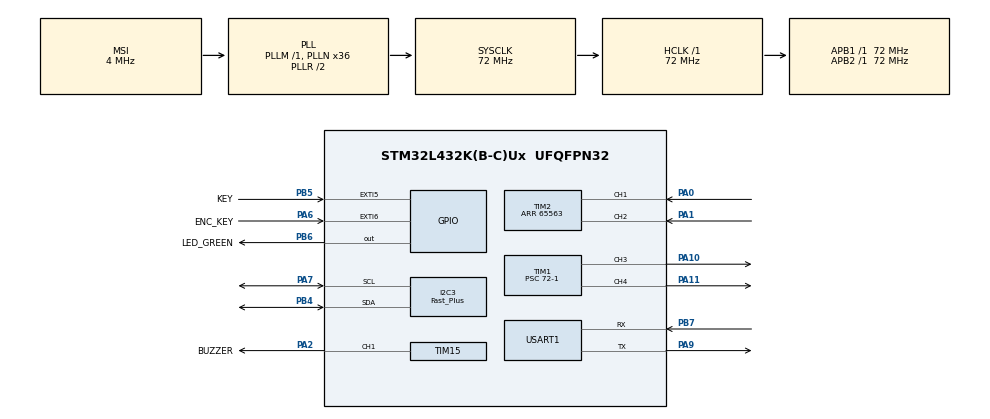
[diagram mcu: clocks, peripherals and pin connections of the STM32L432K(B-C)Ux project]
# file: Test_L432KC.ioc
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I2C3.I2C_Speed_Mode=I2C_Fast_Plus
I2C3.Speed=1000
I2C3.Timing=0x00A10D1F
Mcu.Family=STM32L4
Mcu.Name=STM32L432K(B-C)Ux
Mcu.Package=UFQFPN32
NVIC.EXTI9_5_IRQn=true\:0\:0\:false\:false\:true\:true\:true\:true
NVIC.PriorityGroup=NVIC_PRIORITYGROUP_4
NVIC.USART1_IRQn=true\:0\:0\:true\:false\:true\:true\:true\:true
PA0.GPIO_PuPd=GPIO_PULLUP
PA0.Signal=S_TIM2_CH1
PA1.GPIO_PuPd=GPIO_PULLUP
PA1.Signal=S_TIM2_CH2
PA10.Signal=S_TIM1_CH3
PA11.Signal=S_TIM1_CH4
PA13\ (JTMS-SWDIO).Mode=Serial_Wire
PA13\ (JTMS-SWDIO).Signal=SYS_JTMS-SWDIO
PA14\ (JTCK-SWCLK).Mode=Serial_Wire
PA14\ (JTCK-SWCLK).Signal=SYS_JTCK-SWCLK
PA2.GPIO_Label=BUZZER
PA2.Signal=S_TIM15_CH1
PA6.GPIO_Label=ENC_KEY
PA6.GPIO_ModeDefaultEXTI=GPIO_MODE_IT_FALLING
PA6.GPIO_PuPd=GPIO_PULLUP
PA6.Signal=GPXTI6
PA7.GPIO_Pu=GPIO_PULLUP
PA7.Mode=I2C
PA7.Signal=I2C3_SCL
PA9.Mode=Asynchronous
PA9.Signal=USART1_TX
PB4\ (NJTRST).GPIO_Pu=GPIO_PULLUP
PB4\ (NJTRST).Mode=I2C
PB4\ (NJTRST).Signal=I2C3_SDA
PB5.GPIO_Label=KEY
PB5.GPIO_ModeDefaultEXTI=GPIO_MODE_IT_FALLING
PB5.GPIO_PuPd=GPIO_PULLUP
PB5.Signal=GPXTI5
PB6.GPIO_Label=LED_GREEN
PB6.GPIO_PuPd=GPIO_NOPULL
PB6.Signal=GPIO_Output
PB7.Mode=Asynchronous
PB7.Signal=USART1_RX
PC14-OSC32_IN\ (PC14).Mode=LSE-External-Oscillator
PC14-OSC32_IN\ (PC14).Signal=RCC_OSC32_IN
PC15-OSC32_OUT\ (PC15).Mode=LSE-External-Oscillator
PC15-OSC32_OUT\ (PC15).Signal=RCC_OSC32_OUT
ProjectManager.HeapSize=0x200
ProjectManager.StackSize=0x400
ProjectManager.TargetToolchain=CMake
RCC.AHBFreq_Value=72000000
RCC.APB1Freq_Value=72000000
RCC.APB1TimFreq_Value=72000000
RCC.APB2Freq_Value=72000000
RCC.APB2TimFreq_Value=72000000
RCC.CortexFreq_Value=72000000
RCC.HCLKFreq_Value=72000000
RCC.HSE_VALUE=8000000
RCC.HSI48_VALUE=48000000
RCC.HSI_VALUE=16000000
RCC.MSI_VALUE=4000000
RCC.PLLN=36
RCC.RTCClockSelection=RCC_RTCCLKSOURCE_LSE
RCC.SYSCLKFreq_VALUE=72000000
RCC.SYSCLKSource=RCC_SYSCLKSOURCE_PLLCLK
RCC.VCOOutputFreq_Value=144000000
RTC.Format=RTC_FORMAT_BIN
SH.S_TIM15_CH1.0=TIM15_CH1,PWM Generation1 CH1
SH.S_TIM1_CH3.0=TIM1_CH3,PWM Generation3 CH3
SH.S_TIM1_CH4.0=TIM1_CH4,PWM Generation4 CH4
SH.S_TIM2_CH1.0=TIM2_CH1,Encoder_Interface
SH.S_TIM2_CH2.0=TIM2_CH2,Encoder_Interface
TIM1.Channel-PWM\ Generation3\ CH3=TIM_CHANNEL_3
TIM1.Channel-PWM\ Generation4\ CH4=TIM_CHANNEL_4
TIM1.Period=100-1
TIM1.Prescaler=72-1
TIM15.Channel-PWM\ Generation1\ CH1=TIM_CHANNEL_1
TIM15.Prescaler=72-1
TIM2.EncoderMode=TIM_ENCODERMODE_TI12
TIM2.IC1Filter=15
TIM2.IC2Filter=15
TIM2.Period=65563
USART1.VirtualMode-Asynchronous=VM_ASYNC
VP_RTC_VS_RTC_Activate.Mode=RTC_Enabled
VP_RTC_VS_RTC_Calendar.Mode=RTC_Calendar
VP_TIM1_VS_ClockSourceINT.Mode=Internal
board=custom

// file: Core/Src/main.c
/* USER CODE BEGIN Header */
/**
  ******************************************************************************
  * @file           : main.c
  * @brief          : Main program body
  ******************************************************************************
  * @attention
  *
  * Copyright (c) 2026 STMicroelectronics.
  * All rights reserved.
  *
  * This software is licensed under terms that can be found in the LICENSE file
  * in the root directory of this software component.
  * If no LICENSE file comes with this software, it is provided AS-IS.
  *
  ******************************************************************************
  */
/* USER CODE END Header */
#include "main.h"
#include "i2c.h"
#include "rtc.h"
#include "tim.h"
#include "usart.h"
#include "gpio.h"

/* USER CODE BEGIN Includes */
#include <stdint.h>
#include<stdio.h>
#include"driver_ssd1306_basic.h"
#include "driver_aht20_basic.h"
#include "driver_bmp280_basic.h"
#include "rtc_app.h"
#include <string.h>
#include "fan_app.h"
#include "buzzer_app.h"

/* USER CODE END Includes */

/* USER CODE BEGIN PD */
#define TIME_PAGE 0
#define STATUS_PAGE 1
#define FAN_MODE_MANUAL 1
#define FAN_MODE_AUTO 0
#define FAN_CONTROL_PERIOD_MS 10U
#define DISPLAY_REFRESH_PERIOD_MS 250U
#define RTC_REFRESH_PERIOD_MS 250U
#define SENSOR_REFRESH_PERIOD_MS 1000U
/* USER CODE END PD */

/* USER CODE BEGIN PV */
// 开机乐谱：马里奥主题短句
const BuzzerNote startup_melody[] = {
    {NOTE_E5, 90},  {NOTE_E5, 90},  {NOTE_REST, 90}, {NOTE_E5, 90},
    {NOTE_REST, 90}, {NOTE_C5, 90}, {NOTE_E5, 90},  {NOTE_REST, 90},
    {NOTE_G5, 180}, {NOTE_REST, 180}, {NOTE_G4, 180}, {NOTE_REST, 140},

    {NOTE_C5, 130}, {NOTE_REST, 80}, {NOTE_G4, 130}, {NOTE_REST, 80},
    {NOTE_E4, 130}, {NOTE_REST, 80}, {NOTE_A4, 90},  {NOTE_B4, 90},
    {NOTE_A4, 90},  {NOTE_G4, 120}, {NOTE_E5, 120}, {NOTE_G5, 120},
    {NOTE_A5, 160}, {NOTE_F5, 90},  {NOTE_G5, 90},  {NOTE_REST, 80},
    {NOTE_E5, 90},  {NOTE_C5, 90},  {NOTE_D5, 90},  {NOTE_B4, 160}
};

uint8_t message[20];
uint8_t rx_buf[64];
uint8_t rx_idx=0;
uint8_t rx_char;//建立环形缓冲区以解决串口收发被中断打断的情况
uint8_t CUR_PAGE = TIME_PAGE;
uint8_t FAN_MODE=FAN_MODE_AUTO;
volatile uint8_t page_switch_flag = 0;
const char *MODE_MESSAGE[2]={"AUTO","MANUAL"};
uint16_t temp_thr=250;
volatile int status_aht20_temp_x10 = 0;
uint8_t status_aht20_hum = 0;
int status_bmp280_press_hpa_x10 = 0;
/*这个关键词意在告诉编译器不要优化这个变量 因为编译器无法识别由于中断等硬件操作导致的标志位变化
 * 通常用于修饰寄存器值 中断中的标志位
 */
RTC_TIME_DATA time;
/* USER CODE END PV */

void SystemClock_Config(void);
/* USER CODE BEGIN PFP */
static void I2C3_Scan(void);
static void OLED_ShowStartupAnimation(void);

void HAL_GPIO_EXTI_Callback(uint16_t GPIO_Pin)
{
  static uint32_t last_key_tick = 0;
  uint32_t now = HAL_GetTick();

  if (GPIO_Pin == KEY_Pin)
  {
    /* 软件消抖：200ms 内忽略连续触发，并确认引脚确实为低电平 */
    if ((now - last_key_tick) > 200)
    {
      if (HAL_GPIO_ReadPin(KEY_GPIO_Port, KEY_Pin) == GPIO_PIN_RESET)
      {
        printf("key pressed\r\n");
        HAL_GPIO_WritePin(LED_GREEN_GPIO_Port, LED_GREEN_Pin, GPIO_PIN_SET);
        CUR_PAGE = (CUR_PAGE + 1) % 2;
        page_switch_flag = 1;
        last_key_tick = now;
      }
    }
  }
  if(GPIO_Pin==ENC_KEY_Pin){
      if(CUR_PAGE==STATUS_PAGE){
          FAN_MODE=(FAN_MODE+1)%2;
          printf("FAN_MODE=%d %s\r\n", FAN_MODE, MODE_MESSAGE[FAN_MODE]);
      }
  }
  // if (GPIO_Pin == TEMP_ARM_Pin)//温度高亮起小灯发送0 温度低小灯熄灭发送1 按住远离电位器和小灯的四块电阻可升温
  // {
  //   printf("temp irq\r\n");
  //   if (HAL_GPIO_ReadPin(TEMP_ARM_GPIO_Port, TEMP_ARM_Pin) == GPIO_PIN_RESET)
  //   {
  //     HAL_GPIO_WritePin(LED_RED_GPIO_Port, LED_RED_Pin, GPIO_PIN_SET);
  //   }
  //   else
  //   {
  //     HAL_GPIO_WritePin(LED_RED_GPIO_Port, LED_RED_Pin, GPIO_PIN_RESET);
  //   }
  // }
}
void HAL_UART_RxCpltCallback(UART_HandleTypeDef *huart)
{
  if (huart->Instance == USART1)
  {
    if (rx_char=='\n' || rx_char=='\r')
    {
      rx_buf[rx_idx] = '\0'; // 终止字符串
      printf("Received: %s\r\n", rx_buf);
      if (RTC_DATA_SET_BY_STRING((char*)rx_buf)==HAL_OK)
      {
        printf("RTC updated successfully!\r\n");
      }
      else
      {
        printf("Failed to update RTC. Please use format: YYYY-MM-DD-HH:MM:SS\r\n");
      }
      rx_idx = 0; // 重置索引准备接收下一条命令
    }
    else
    {
      if (rx_idx < sizeof(rx_buf) - 1) // 确保不会溢出
      {
        rx_buf[rx_idx++] = rx_char; // 存储接收到的字符并递增索引
      }

    }
    HAL_UART_Receive_IT(&huart1, &rx_char, 1);
    // RTC_DATA_SET_BY_STRING((char*)message);
  }
}

int _write(int file, char *ptr, int len)
{

  HAL_StatusTypeDef status = HAL_UART_Transmit(&huart1, (uint8_t *)ptr, len, HAL_MAX_DELAY);

  if (status == HAL_OK) {
    return len;
  } else {
    return 0;
  }
}
int _read(int file, char *ptr, int len)
{
  (void)file;
  (void)len;

  HAL_StatusTypeDef status = HAL_UART_Receive(&huart1, (uint8_t *)ptr, 1, HAL_MAX_DELAY);

  if (status == HAL_OK) {
    HAL_UART_Transmit(&huart1, (uint8_t *)ptr, 1, HAL_MAX_DELAY); // 回显
    return 1;
  } else {
    return 0; // EOF
  }
}

void SHOW_TIME_PAGE()
{
  char buf[24];

  /* 时间使用 16 号字体居中显示，24 号字体宽度超出 128px 屏幕。 */
  snprintf(buf, sizeof(buf), "%02d:%02d:%02d", time.hour, time.minute, time.second);
  ssd1306_basic_string(32, 10, buf, strlen(buf), 1, SSD1306_FONT_16);

  snprintf(buf, sizeof(buf), "%04d-%02d-%02d", time.year, time.month, time.day);
  ssd1306_basic_string(31, 36, buf, strlen(buf), 1, SSD1306_FONT_12);
}

void SHOW_STATUS_PAGE(int aht20_temp_x10, uint8_t aht20_hum, int bmp280_press_hpa_x10, FanStatus fan)
{

  char buf[24];
  int td = aht20_temp_x10 % 10;
  if (td < 0) td = -td;
  snprintf(buf, sizeof(buf), "T:%d.%dC H:%d%%", aht20_temp_x10 / 10, td, aht20_hum);
  ssd1306_basic_string(0, 0, buf, strlen(buf), 1, SSD1306_FONT_16);

  int pd = bmp280_press_hpa_x10 % 10;
  if (pd < 0) pd = -pd;
  snprintf(buf, sizeof(buf), "P:%d.%dhPa", bmp280_press_hpa_x10 / 10, pd);
  ssd1306_basic_string(0, 20, buf, strlen(buf), 1, SSD1306_FONT_16);
  const char *dir = "STOP";

  if (fan.direction == FAN_DIRECTION_FORWARD)
  {
    dir = "FWD";
  }
  else if (fan.direction == FAN_DIRECTION_BACKWARD)
  {
    dir = "REV";
  }

  static uint8_t last_fan_mode = FAN_MODE_AUTO;
  if (last_fan_mode != FAN_MODE) {
    ssd1306_basic_string(0, 40, "                    ", 20, 1, SSD1306_FONT_12);
    last_fan_mode = FAN_MODE;
  }
  snprintf(buf, sizeof(buf), "Fan:%s %3u%% %s", dir, fan.speed_percent,MODE_MESSAGE[FAN_MODE]);
  ssd1306_basic_string(0, 40, buf, strlen(buf), 1, SSD1306_FONT_12);

  // snprintf(buf,sizeof(buf),"Threshold for temp: 25C");
  // ssd1306_basic_string(0, 52, buf, strlen(buf), 1, SSD1306_FONT_12);

}

static void OLED_ShowStartupAnimation(void)
{
  const uint8_t bar_left = 10;
  const uint8_t bar_top = 44;
  const uint8_t bar_right = 117;
  const uint8_t bar_bottom = 54;
  const uint8_t bar_width = bar_right - bar_left - 3;

  ssd1306_basic_clear();
  ssd1306_basic_string(14, 0, "STM32L432KC", 11, 1, SSD1306_FONT_16);
  ssd1306_basic_string(24, 22, "Embedded Lab", 12, 1, SSD1306_FONT_12);

  ssd1306_basic_rect(bar_left, bar_top, bar_right, bar_top, 1);
  ssd1306_basic_rect(bar_left, bar_bottom, bar_right, bar_bottom, 1);
  ssd1306_basic_rect(bar_left, bar_top, bar_left, bar_bottom, 1);
  ssd1306_basic_rect(bar_right, bar_top, bar_right, bar_bottom, 1);

  for (uint8_t frame = 0; frame <= 8; frame++)
  {
    uint8_t fill_right = bar_left + 2 + (uint8_t)((bar_width * frame) / 8);

    if (frame > 0)
    {
      ssd1306_basic_rect(bar_left + 2, bar_top + 2, fill_right, bar_bottom - 2, 1);
    }

    HAL_Delay(80);
  }

  ssd1306_basic_rect(bar_left, bar_top, bar_right, bar_bottom, 0);
  ssd1306_basic_string(49, 44, "READY", 5, 1, SSD1306_FONT_12);
  HAL_Delay(250);
  ssd1306_basic_clear();
}

/* USER CODE END PFP */

int main(void)
{

  /* MCU Configuration--------------------------------------------------------*/

  /* Reset of all peripherals, Initializes the Flash interface and the Systick. */
  HAL_Init();

  /* Configure the system clock */
  SystemClock_Config();

  /* Initialize all configured peripherals */
  MX_GPIO_Init();
  MX_USART1_UART_Init();
  MX_I2C3_Init();
  MX_TIM1_Init();
  MX_TIM2_Init();
  MX_RTC_Init();
  MX_TIM15_Init();
  /* USER CODE BEGIN 2 */

  HAL_GPIO_WritePin(LED_GREEN_GPIO_Port, LED_GREEN_Pin, GPIO_PIN_RESET);
  HAL_UART_Receive_IT(&huart1, &rx_char,1);
  uint8_t res;

  printf("Starting SSD1306 System...\r\n");

  res = ssd1306_basic_init(SSD1306_INTERFACE_IIC, SSD1306_ADDR_SA0_0);

  if (res != 0)
  {
    // 如果初始化失败，串口会打印具体原因
    printf("ssd1306: init failed, code: %d\r\n", res);
  }
  else
  {
    printf("ssd1306: init success!\r\n");
    OLED_ShowStartupAnimation();
  }

  /* 扫描 I2C3 总线，查看哪些设备在线 */
  // I2C3_Scan();

  /* 初始化AHT20温湿度传感器 */
  res = aht20_basic_init();
  if (res != 0)
  {
    printf("aht20: init failed, code: %d\r\n", res);
  }
  else
  {
    printf("aht20: init success!\r\n");
  }

  /* 初始化BMP280气压传感器 */
  res = bmp280_basic_init(BMP280_INTERFACE_IIC, BMP280_ADDRESS_ADO_HIGH);
  if (res != 0)
  {
    printf("bmp280: init failed, code: %d\r\n", res);
  }
  else
  {
    printf("bmp280: init success!\r\n");
  }

  FAN_APP_Init();

  /* 初始化蜂鸣器并播放开机音乐 */

  BUZZER_Init(&htim15, TIM_CHANNEL_1);
  BUZZER_PlayMelody(startup_melody, sizeof(startup_melody) / sizeof(BuzzerNote));

  uint32_t last_fan_tick = 0;
  uint32_t last_display_tick = 0;
  uint32_t last_rtc_tick = 0;
  uint32_t last_sensor_tick = 0;

  /* USER CODE END 2 */

  /* Infinite loop */
  /* USER CODE BEGIN WHILE */
  while (1)
  {
    uint32_t now = HAL_GetTick();

    /* 蜂鸣器非阻塞更新 */
    BUZZER_Update();

    if ((now - last_fan_tick) >= FAN_CONTROL_PERIOD_MS)
    {
      // FAN_APP_DebugEncoder();

      if (FAN_MODE == FAN_MODE_AUTO)
      {
        FAN_Auto_Mode(status_aht20_temp_x10, temp_thr);
      }
      else
      {
        FAN_APP_Update();
      }
      last_fan_tick = now;
    }

    if ((now - last_rtc_tick) >= RTC_REFRESH_PERIOD_MS)
    {
      RTC_DATA_GET(&time);
      last_rtc_tick = now;
    }

    if (page_switch_flag)
    {
      ssd1306_basic_clear();
      page_switch_flag = 0;
      last_display_tick = 0;
    }

    if (CUR_PAGE == STATUS_PAGE && (now - last_sensor_tick) >= SENSOR_REFRESH_PERIOD_MS)
    {
      float aht20_temp = 0.0f;
      uint8_t aht20_hum = 0;
      if (aht20_basic_read(&aht20_temp, &aht20_hum) != 0)
      {
        printf("aht20: read failed\r\n");
      }
      else
      {
        int t_x10 = (int)(aht20_temp * 10);
        status_aht20_temp_x10 = t_x10;
        status_aht20_hum = aht20_hum;
        // printf("aht20: temp=%d.%d hum=%d\r\n", t_x10 / 10, (t_x10 < 0 ? -t_x10 : t_x10) % 10, aht20_hum);
      }

      float bmp280_temp = 0.0f;
      float bmp280_press = 0.0f;
      if (bmp280_basic_read(&bmp280_temp, &bmp280_press) != 0)
      {
        printf("bmp280: read failed\r\n");
      }
      else
      {
        int p_hpa_x10 = (int)(bmp280_press / 10.0f);
        status_bmp280_press_hpa_x10 = p_hpa_x10;
        // printf("bmp280: press=%d.%d\r\n", p_hpa_x10 / 10, p_hpa_x10 % 10);
      }
      last_sensor_tick = now;
    }

    if ((now - last_display_tick) < DISPLAY_REFRESH_PERIOD_MS)
    {
      HAL_Delay(1);
      continue;
    }
    last_display_tick = now;

//状态机逻辑
    switch (CUR_PAGE)
    {
    case TIME_PAGE:
      SHOW_TIME_PAGE();
      break;
    case STATUS_PAGE:
    {
      SHOW_STATUS_PAGE(status_aht20_temp_x10, status_aht20_hum, status_bmp280_press_hpa_x10, FAN_APP_GetStatus());
      break;
    }
    default:
      CUR_PAGE=TIME_PAGE;
      break;

    }
    /* USER CODE END WHILE */

  }
}

void SystemClock_Config(void)
{
  RCC_OscInitTypeDef RCC_OscInitStruct = {0};
  RCC_ClkInitTypeDef RCC_ClkInitStruct = {0};

  /** Configure the main internal regulator output voltage
  */
  if (HAL_PWREx_ControlVoltageScaling(PWR_REGULATOR_VOLTAGE_SCALE1) != HAL_OK)
  {
    Error_Handler();
  }

  /** Configure LSE Drive Capability
  */
  HAL_PWR_EnableBkUpAccess();
  __HAL_RCC_LSEDRIVE_CONFIG(RCC_LSEDRIVE_LOW);

  /** Initializes the RCC Oscillators according to the specified parameters
  * in the RCC_OscInitTypeDef structure.
  */
  RCC_OscInitStruct.OscillatorType = RCC_OSCILLATORTYPE_LSE|RCC_OSCILLATORTYPE_MSI;
  RCC_OscInitStruct.LSEState = RCC_LSE_ON;
  RCC_OscInitStruct.MSIState = RCC_MSI_ON;
  RCC_OscInitStruct.MSICalibrationValue = 0;
  RCC_OscInitStruct.MSIClockRange = RCC_MSIRANGE_6;
  RCC_OscInitStruct.PLL.PLLState = RCC_PLL_ON;
  RCC_OscInitStruct.PLL.PLLSource = RCC_PLLSOURCE_MSI;
  RCC_OscInitStruct.PLL.PLLM = 1;
  RCC_OscInitStruct.PLL.PLLN = 36;
  RCC_OscInitStruct.PLL.PLLP = RCC_PLLP_DIV7;
  RCC_OscInitStruct.PLL.PLLQ = RCC_PLLQ_DIV2;
  RCC_OscInitStruct.PLL.PLLR = RCC_PLLR_DIV2;
  if (HAL_RCC_OscConfig(&RCC_OscInitStruct) != HAL_OK)
  {
    Error_Handler();
  }

  /** Initializes the CPU, AHB and APB buses clocks
  */
  RCC_ClkInitStruct.ClockType = RCC_CLOCKTYPE_HCLK|RCC_CLOCKTYPE_SYSCLK
                              |RCC_CLOCKTYPE_PCLK1|RCC_CLOCKTYPE_PCLK2;
  RCC_ClkInitStruct.SYSCLKSource = RCC_SYSCLKSOURCE_PLLCLK;
  RCC_ClkInitStruct.AHBCLKDivider = RCC_SYSCLK_DIV1;
  RCC_ClkInitStruct.APB1CLKDivider = RCC_HCLK_DIV1;
  RCC_ClkInitStruct.APB2CLKDivider = RCC_HCLK_DIV1;

  if (HAL_RCC_ClockConfig(&RCC_ClkInitStruct, FLASH_LATENCY_4) != HAL_OK)
  {
    Error_Handler();
  }

  /** Enable MSI Auto calibration
  */
  HAL_RCCEx_EnableMSIPLLMode();
}

/* USER CODE BEGIN 4 */

/**
 * @brief  I2C 总线扫描：遍历所有 7-bit 地址，打印哪些设备有 ACK 响应
 * @param  hi2c: I2C 句柄指针
 */
static void I2C3_Scan(void)
{
  printf("I2C3 bus scan:\r\n");
  for (uint8_t addr = 1; addr < 128; addr++)
  {
    /* HAL_I2C_IsDeviceReady 使用 8-bit 地址（左移 1 位） */
    if (HAL_I2C_IsDeviceReady(&hi2c3, (uint16_t)(addr << 1), 1, 100) == HAL_OK)
    {
      printf("  0x%02X (7-bit) / 0x%02X (8-bit) -> ACK!\r\n", addr, addr << 1);
    }
  }
  printf("Scan done.\r\n");
}

/* USER CODE END 4 */

void Error_Handler(void)
{
  __disable_irq();
  while (1)
  {
  }
}
